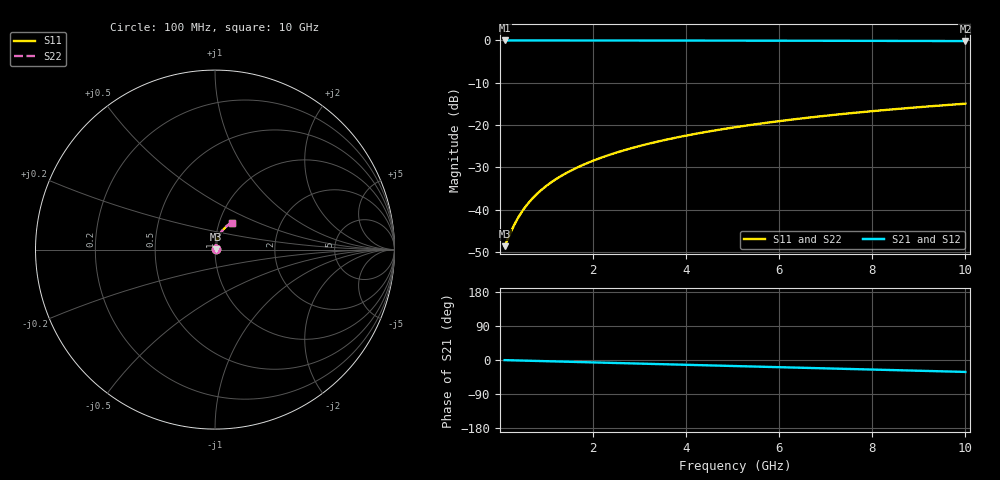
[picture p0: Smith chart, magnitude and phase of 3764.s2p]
# Hz S RI R 50.00
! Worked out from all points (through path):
!   100 points, 100 MHz to 10 GHz, reference 50 ohm
!   highest |S21| = -0.03 dB at 100 MHz (marker M1); lowest = -0.2 dB at 10 GHz (marker M2)
!   group delay of S21, straight-line fit = 8.74 ps
!   lowest |S11| = -48.6 dB at 100 MHz (marker M3), VSWR 1.01, Z = 50.3 + j0.189 ohm
!   |S11| at or under -10 dB: start of sweep to end of sweep
!   |S22| runs from -48.6 to -15.0 dB; largest |S21 - S12| = 0
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1e8  0.00322 0.00188  0.9968 -0.00551  0.9968 -0.00551  0.00322 0.00188
2e8  0.00327 0.00375  0.9967 -0.011  0.9967 -0.011  0.00327 0.00375
3e8  0.00334 0.00563  0.9966 -0.0165  0.9966 -0.0165  0.00334 0.00563
4e8  0.00342 0.00751  0.9965 -0.022  0.9965 -0.022  0.00342 0.00751
5e8  0.00352 0.00938  0.9963 -0.0275  0.9963 -0.0275  0.00352 0.00938
6e8  0.00364 0.0113  0.9961 -0.033  0.9961 -0.033  0.00364 0.0113
7e8  0.00379 0.0131  0.9959 -0.0385  0.9959 -0.0385  0.00379 0.0131
9e8  0.00413 0.0169  0.9953 -0.0495  0.9953 -0.0495  0.00413 0.0169
1e9  0.00433 0.0187  0.995 -0.055  0.995 -0.055  0.00433 0.0187
1.2e9  0.0048 0.0224  0.9942 -0.066  0.9942 -0.066  0.0048 0.0224
1.5e9  0.00565 0.028  0.9928 -0.0824  0.9928 -0.0824  0.00565 0.028
1.8e9  0.00668 0.0335  0.9911 -0.0989  0.9911 -0.0989  0.00668 0.0335
2.1e9  0.0079 0.039  0.9891 -0.1152  0.9891 -0.1152  0.0079 0.039
2.5e9  0.00979 0.0463  0.986 -0.137  0.986 -0.137  0.00979 0.0463
2.9e9  0.012 0.0534  0.9823 -0.1587  0.9823 -0.1587  0.012 0.0534
3.4e9  0.0152 0.0622  0.977 -0.1856  0.977 -0.1856  0.0152 0.0622
4.2e9  0.0213 0.0759  0.9668 -0.2282  0.9668 -0.2282  0.0213 0.0759
5.1e9  0.0296 0.0905  0.9529 -0.2754  0.9529 -0.2754  0.0296 0.0905
5.9e9  0.0381 0.1027  0.9385 -0.3165  0.9385 -0.3165  0.0381 0.1027
6.7e9  0.0477 0.1141  0.9221 -0.3568  0.9221 -0.3568  0.0477 0.1141
8.4e9  0.071 0.1352  0.8814 -0.439  0.8814 -0.439  0.071 0.1352
1e10  0.096 0.1508  0.8362 -0.5116  0.8362 -0.5116  0.096 0.1508
